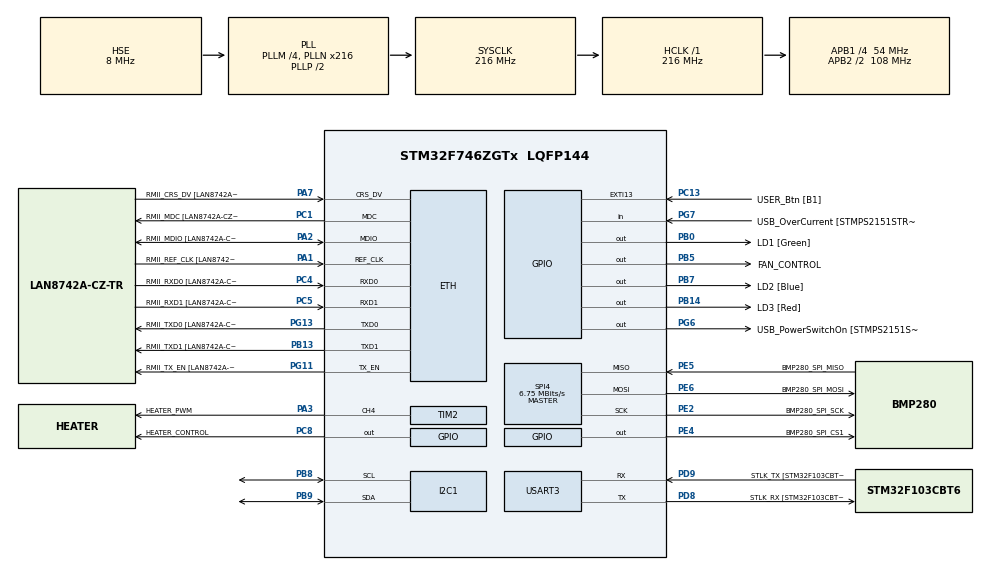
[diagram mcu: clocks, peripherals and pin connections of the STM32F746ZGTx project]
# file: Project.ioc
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ETH.MediaInterface=HAL_ETH_RMII_MODE
ETH.PHY_Name=LAN8742A_PHY_ADDRESS
ETH.PHY_Value=0
ETH.PhyAddress=0
FREERTOS.Tasks01=defaultTask,0,256,StartDefaultTask,Default,NULL,Dynamic,NULL,NULL;udpechoTask,3,1024,StartUdpEcho,Default,NULL,Dynamic,NULL,NULL;tcpechoTask,3,1024,StartTcpEcho,Default,NULL,Dynamic,NULL,NULL
FREERTOS.configTOTAL_HEAP_SIZE=25360
FREERTOS.configUSE_NEWLIB_REENTRANT=1
I2C1.Timing=0x20404768
LWIP.BSP.number=1
LWIP.GATEWAY_ADDRESS=192.168.001.001
LWIP.IP_ADDRESS=192.168.001.066
LWIP.LWIP_DHCP=0
LWIP.LWIP_HTTPD=1
LWIP.NETMASK_ADDRESS=255.255.255.000
LWIP.Version=v2.1.2_Cube
LWIP0.BSP.STBoard=false
LWIP0.BSP.api=BSP_COMPONENT_DRIVER
LWIP0.BSP.component=LAN8742
LWIP0.BSP.instance=LAN8742
LWIP0.BSP.name=Driver_PHY
LWIP0.BSP.semaphore=S_LAN8742
LWIP0.BSP.solution=LAN8742
Mcu.Family=STM32F7
Mcu.Name=STM32F746ZGTx
Mcu.Package=LQFP144
NVIC.ETH_IRQn=true\:5\:0\:false\:false\:true\:true\:false\:true\:true
NVIC.PriorityGroup=NVIC_PRIORITYGROUP_4
NVIC.USART3_IRQn=true\:5\:0\:false\:false\:true\:true\:true\:true\:true
PA1.GPIO_Label=RMII_REF_CLK [LAN8742A-CZ-TR_REFCLK0]
PA1.Mode=RMII
PA1.Signal=ETH_REF_CLK
PA10.GPIO_Label=USB_ID
PA10.Signal=USB_OTG_FS_ID
PA11.GPIO_Label=USB_DM
PA11.Signal=USB_OTG_FS_DM
PA12.GPIO_Label=USB_DP
PA12.Signal=USB_OTG_FS_DP
PA13.GPIO_Label=TMS
PA13.Mode=Serial_Wire
PA13.Signal=SYS_JTMS-SWDIO
PA14.GPIO_Label=TCK
PA14.Mode=Serial_Wire
PA14.Signal=SYS_JTCK-SWCLK
PA2.GPIO_Label=RMII_MDIO [LAN8742A-CZ-TR_MDIO]
PA2.Mode=RMII
PA2.Signal=ETH_MDIO
PA3.GPIO_Label=HEATER_PWM
PA3.Signal=S_TIM2_CH4
PA7.GPIO_Label=RMII_CRS_DV [LAN8742A-CZ-TR_CRS_DV]
PA7.Mode=RMII
PA7.Signal=ETH_CRS_DV
PA8.GPIO_Label=USB_SOF [TP1]
PA8.Signal=USB_OTG_FS_SOF
PA9.GPIO_Label=USB_VBUS
PA9.Signal=USB_OTG_FS_VBUS
PB0.GPIO_Label=LD1 [Green]
PB0.Signal=GPIO_Output
PB13.GPIO_Label=RMII_TXD1 [LAN8742A-CZ-TR_TXD1]
PB13.Mode=RMII
PB13.Signal=ETH_TXD1
PB14.GPIO_Label=LD3 [Red]
PB14.Signal=GPIO_Output
PB3.GPIO_Label=SW0
PB3.Signal=SYS_JTDO-SWO
PB5.GPIO_Label=FAN_CONTROL
PB5.GPIO_Speed=GPIO_SPEED_FREQ_LOW
PB5.Signal=GPIO_Output
PB7.GPIO_Label=LD2 [Blue]
PB7.Signal=GPIO_Output
PB8.Mode=I2C
PB8.Signal=I2C1_SCL
PB9.Mode=I2C
PB9.Signal=I2C1_SDA
PC1.GPIO_Label=RMII_MDC [LAN8742A-CZ-TR_MDC]
PC1.Mode=RMII
PC1.Signal=ETH_MDC
PC13.GPIO_Label=USER_Btn [B1]
PC13.Signal=GPXTI13
PC14/OSC32_IN.Mode=LSE-External-Oscillator
PC14/OSC32_IN.Signal=RCC_OSC32_IN
PC15/OSC32_OUT.Mode=LSE-External-Oscillator
PC15/OSC32_OUT.Signal=RCC_OSC32_OUT
PC4.GPIO_Label=RMII_RXD0 [LAN8742A-CZ-TR_RXD0]
PC4.Mode=RMII
PC4.Signal=ETH_RXD0
PC5.GPIO_Label=RMII_RXD1 [LAN8742A-CZ-TR_RXD1]
PC5.Mode=RMII
PC5.Signal=ETH_RXD1
PC8.GPIO_Label=HEATER_CONTROL
PC8.Signal=GPIO_Output
PD8.GPIO_Label=STLK_RX [STM32F103CBT6_PA3]
PD8.Mode=Asynchronous
PD8.Signal=USART3_TX
PD9.GPIO_Label=STLK_TX [STM32F103CBT6_PA2]
PD9.Mode=Asynchronous
PD9.Signal=USART3_RX
PE2.GPIO_Label=BMP280_SPI_SCK
PE2.Mode=Full_Duplex_Master
PE2.Signal=SPI4_SCK
PE4.GPIO_Label=BMP280_SPI_CS1
PE4.Signal=GPIO_Output
PE5.GPIO_Label=BMP280_SPI_MISO
PE5.Mode=Full_Duplex_Master
PE5.Signal=SPI4_MISO
PE6.GPIO_Label=BMP280_SPI_MOSI
PE6.Mode=Full_Duplex_Master
PE6.Signal=SPI4_MOSI
PG11.GPIO_Label=RMII_TX_EN [LAN8742A-CZ-TR_TXEN]
PG11.Mode=RMII
PG11.Signal=ETH_TX_EN
PG13.GPIO_Label=RMII_TXD0 [LAN8742A-CZ-TR_TXD0]
PG13.Mode=RMII
PG13.Signal=ETH_TXD0
PG6.GPIO_Label=USB_PowerSwitchOn [STMPS2151STR_EN]
PG6.Signal=GPIO_Output
PG7.GPIO_Label=USB_OverCurrent [STMPS2151STR_FAULT]
PG7.Signal=GPIO_Input
PH0/OSC_IN.GPIO_Label=MCO [STM32F103CBT6_PA8]
PH0/OSC_IN.Mode=HSE-External-Clock-Source
PH0/OSC_IN.Signal=RCC_OSC_IN
PH1/OSC_OUT.Mode=HSE-External-Clock-Source
PH1/OSC_OUT.Signal=RCC_OSC_OUT
ProjectManager.HeapSize=0x400
ProjectManager.StackSize=0x400
ProjectManager.TargetToolchain=STM32CubeIDE
RCC.48MHZClocksFreq_Value=24000000
RCC.AHBFreq_Value=216000000
RCC.APB1CLKDivider=RCC_HCLK_DIV4
RCC.APB1Freq_Value=54000000
RCC.APB1TimFreq_Value=108000000
RCC.APB2CLKDivider=RCC_HCLK_DIV2
RCC.APB2Freq_Value=108000000
RCC.APB2TimFreq_Value=216000000
RCC.CortexFreq_Value=216000000
RCC.HCLKFreq_Value=216000000
RCC.HSE_VALUE=8000000
RCC.HSI_VALUE=16000000
RCC.PLLM=4
RCC.PLLMUL=RCC_PLL_MUL9
RCC.PLLN=216
RCC.PLLQ=3
RCC.PLLSourceVirtual=RCC_PLLSOURCE_HSE
RCC.PRESCALERUSB=RCC_USBCLKSOURCE_PLL_DIV1_5
RCC.SYSCLKFreq_VALUE=216000000
RCC.SYSCLKSource=RCC_SYSCLKSOURCE_PLLCLK
RCC.SYSCLKSourceVirtual=RCC_SYSCLKSOURCE_PLLCLK
RCC.USBFreq_Value=144000000
RCC.VCOOutputFreq_Value=432000000
SH.S_TIM2_CH4.0=TIM2_CH4,PWM Generation4 CH4
SPI4.BaudRatePrescaler=SPI_BAUDRATEPRESCALER_16
SPI4.CLKPhase=SPI_PHASE_2EDGE
SPI4.CLKPolarity=SPI_POLARITY_HIGH
SPI4.CalculateBaudRate=6.75 MBits/s
SPI4.DataSize=SPI_DATASIZE_8BIT
SPI4.Direction=SPI_DIRECTION_2LINES
SPI4.Mode=SPI_MODE_MASTER
SPI4.VirtualType=VM_MASTER
TIM2.Channel-PWM\ Generation4\ CH4=TIM_CHANNEL_4
TIM2.Period=1000-1
TIM2.Prescaler=108-1
TIM7.Period=9999
TIM7.Prescaler=10799
USART3.VirtualMode-Asynchronous=VM_ASYNC
VP_FREERTOS_VS_CMSIS_V1.Mode=CMSIS_V1
VP_LWIP_VS_Enabled.Mode=Enabled
VP_TIM2_VS_ClockSourceINT.Mode=Internal
VP_TIM7_VS_ClockSourceINT.Mode=Enable_Timer
board=NUCLEO-F746ZG

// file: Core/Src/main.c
/* USER CODE BEGIN Header */
/**
  ******************************************************************************
  * @file           : main.c
  * @brief          : Main program body
  ******************************************************************************
  * @attention
  *
  * Copyright (c) 2023 STMicroelectronics.
  * All rights reserved.
  *
  * This software is licensed under terms that can be found in the LICENSE file
  * in the root directory of this software component.
  * If no LICENSE file comes with this software, it is provided AS-IS.
  *
  ******************************************************************************
  */
/* USER CODE END Header */
#include "main.h"
#include "cmsis_os.h"
#include "i2c.h"
#include "lwip.h"
#include "spi.h"
#include "tim.h"
#include "usart.h"
#include "gpio.h"

/* USER CODE BEGIN Includes */
#include "lwip/apps/httpd.h"
#include "lcd_i2c.h"
#include <stdbool.h>
#include <stdio.h>
#include <stdlib.h>
#include "bmp2_config.h"
/* USER CODE END Includes */

/* USER CODE BEGIN PV */
struct lcd_disp disp;
volatile float my_variable = 20.0;
uint8_t rx_buffer[1];
extern struct bmp2_dev bmp2dev;

int temp_mdegC = 0;
int press_Pa = 0;
/* USER CODE END PV */

void SystemClock_Config(void);
void MX_FREERTOS_Init(void);
/* USER CODE BEGIN PFP */
void TempSensorTask(void *argument);
/* USER CODE END PFP */

/* USER CODE BEGIN 0 */
int _write(int file, char *ptr, int len)
{
  return (HAL_UART_Transmit(&huart3, (uint8_t*)ptr, len, HAL_MAX_DELAY) == HAL_OK) ? len : -1;
}
/* USER CODE END 0 */

int main(void)
{

  /* MCU Configuration--------------------------------------------------------*/

  /* Reset of all peripherals, Initializes the Flash interface and the Systick. */
  HAL_Init();

  /* Configure the system clock */
  SystemClock_Config();

  /* Initialize all configured peripherals */
  MX_GPIO_Init();
  MX_USART3_UART_Init();
  MX_I2C1_Init();
  MX_SPI4_Init();
  MX_TIM2_Init();
  MX_TIM7_Init();
  /* USER CODE BEGIN 2 */
  disp.addr = (0x27 << 1);
  disp.bl = true;
  lcd_init(&disp);
  sprintf((char *)disp.f_line, "Wartosc: %.2f", my_variable);
  sprintf((char *)disp.s_line, "");
  lcd_display(&disp);

  HAL_UART_Receive_IT(&huart3, rx_buffer, 1);

  BMP2_Init(&bmp2dev);
  /* USER CODE END 2 */

  /* Call init function for freertos objects (in freertos.c) */
  MX_FREERTOS_Init();

  /* Start scheduler */
  osKernelStart();

  /* We should never get here as control is now taken by the scheduler */
  /* Infinite loop */
  /* USER CODE BEGIN WHILE */
  float prev_variable = 0;
  while (1)
  {
	  if (prev_variable != my_variable) {
	  char buffer[16];
	  sprintf(buffer, "Val: %.2f", my_variable);
	  sprintf((char *)disp.f_line, "%s", buffer);
	  lcd_display(&disp);  // Aktualizacja wyświetlacza LCD
	  prev_variable = my_variable;
	  }

	  HAL_Delay(500);

	  double temp, press;
	  BMP2_ReadData(&bmp2dev, &press, &temp);
	  temp_mdegC = 1000*temp;
	  press_Pa = 100*press;
	  printf("{\"id\":1,\"temp\":%5.2f, \"press\":%7.2f }\r\n", (float)temp, (float)press);
	  HAL_Delay(250);
    /* USER CODE END WHILE */

  }
}

void SystemClock_Config(void)
{
  RCC_OscInitTypeDef RCC_OscInitStruct = {0};
  RCC_ClkInitTypeDef RCC_ClkInitStruct = {0};

  /** Configure LSE Drive Capability
  */
  HAL_PWR_EnableBkUpAccess();

  /** Configure the main internal regulator output voltage
  */
  __HAL_RCC_PWR_CLK_ENABLE();
  __HAL_PWR_VOLTAGESCALING_CONFIG(PWR_REGULATOR_VOLTAGE_SCALE1);

  /** Initializes the RCC Oscillators according to the specified parameters
  * in the RCC_OscInitTypeDef structure.
  */
  RCC_OscInitStruct.OscillatorType = RCC_OSCILLATORTYPE_HSE;
  RCC_OscInitStruct.HSEState = RCC_HSE_BYPASS;
  RCC_OscInitStruct.PLL.PLLState = RCC_PLL_ON;
  RCC_OscInitStruct.PLL.PLLSource = RCC_PLLSOURCE_HSE;
  RCC_OscInitStruct.PLL.PLLM = 4;
  RCC_OscInitStruct.PLL.PLLN = 216;
  RCC_OscInitStruct.PLL.PLLP = RCC_PLLP_DIV2;
  RCC_OscInitStruct.PLL.PLLQ = 3;
  if (HAL_RCC_OscConfig(&RCC_OscInitStruct) != HAL_OK)
  {
    Error_Handler();
  }

  /** Activate the Over-Drive mode
  */
  if (HAL_PWREx_EnableOverDrive() != HAL_OK)
  {
    Error_Handler();
  }

  /** Initializes the CPU, AHB and APB buses clocks
  */
  RCC_ClkInitStruct.ClockType = RCC_CLOCKTYPE_HCLK|RCC_CLOCKTYPE_SYSCLK
                              |RCC_CLOCKTYPE_PCLK1|RCC_CLOCKTYPE_PCLK2;
  RCC_ClkInitStruct.SYSCLKSource = RCC_SYSCLKSOURCE_PLLCLK;
  RCC_ClkInitStruct.AHBCLKDivider = RCC_SYSCLK_DIV1;
  RCC_ClkInitStruct.APB1CLKDivider = RCC_HCLK_DIV4;
  RCC_ClkInitStruct.APB2CLKDivider = RCC_HCLK_DIV2;

  if (HAL_RCC_ClockConfig(&RCC_ClkInitStruct, FLASH_LATENCY_7) != HAL_OK)
  {
    Error_Handler();
  }
}

/* USER CODE BEGIN 4 */
void HAL_UART_RxCpltCallback(UART_HandleTypeDef *huart) {
    if (huart->Instance == USART3) {
        if (rx_buffer[0] == '+') {
            my_variable += 0.5;
        } else if (rx_buffer[0] == '-') {
            my_variable -= 0.5;
        }

        // Wysyłanie aktualnej wartości
        char response[20];
        sprintf(response, "%.2f\n", my_variable);
        HAL_UART_Transmit(&huart3, (uint8_t*)response, strlen(response), HAL_MAX_DELAY);

        HAL_UART_Receive_IT(&huart3, rx_buffer, 1);  // Ponowne włączenie odbioru
    }
}
/* USER CODE END 4 */

void Error_Handler(void)
{
  __disable_irq();
  while (1)
  {
  }
}

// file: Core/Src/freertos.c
/* USER CODE BEGIN Header */
/**
  ******************************************************************************
  * File Name          : freertos.c
  * Description        : Code for freertos applications
  ******************************************************************************
  * @attention
  *
  * Copyright (c) 2023 STMicroelectronics.
  * All rights reserved.
  *
  * This software is licensed under terms that can be found in the LICENSE file
  * in the root directory of this software component.
  * If no LICENSE file comes with this software, it is provided AS-IS.
  *
  ******************************************************************************
  */
/* USER CODE END Header */

#include "FreeRTOS.h"
#include "task.h"
#include "main.h"
#include "cmsis_os.h"

/* USER CODE BEGIN Includes */
#include "lwip/opt.h"
#include "lwip/api.h"
#include "lwip/sys.h"
#include "lwip/apps/httpd.h"
#include "lwip/tcpip.h"
#include "lwip/netif.h"
#include "ethernetif.h"
#include <string.h>
#include <stdio.h>
#include "lcd_i2c.h"
#include "bmp2_config.h"

/* USER CODE END Includes */

/* USER CODE BEGIN PD */
#define TCP_SERVER 0
/* USER CODE END PD */

osThreadId defaultTaskHandle;
osThreadId udpechoTaskHandle;
osThreadId tcpechoTaskHandle;

/* USER CODE BEGIN FunctionPrototypes */
//extern void tcpecho_init(void);
//extern void udpecho_init(void);
extern volatile float my_variable;
extern struct lcd_disp disp;
extern volatile int temp_mdegC;
extern volatile int press_Pa;
extern struct bmp2_dev bmp2dev;
osMutexId i2cMutexHandle;
/* USER CODE END FunctionPrototypes */

void StartDefaultTask(void const * argument);
void StartUdpEcho(void const * argument);
void StartTcpEcho(void const * argument);

extern struct netif gnetif;
extern void MX_LWIP_Init(void);
void MX_FREERTOS_Init(void); /* (MISRA C 2004 rule 8.1) */

/* GetIdleTaskMemory prototype (linked to static allocation support) */
void vApplicationGetIdleTaskMemory( StaticTask_t **ppxIdleTaskTCBBuffer, StackType_t **ppxIdleTaskStackBuffer, uint32_t *pulIdleTaskStackSize );

/* USER CODE BEGIN GET_IDLE_TASK_MEMORY */
static StaticTask_t xIdleTaskTCBBuffer;
static StackType_t xIdleStack[configMINIMAL_STACK_SIZE];

void vApplicationGetIdleTaskMemory( StaticTask_t **ppxIdleTaskTCBBuffer, StackType_t **ppxIdleTaskStackBuffer, uint32_t *pulIdleTaskStackSize )
{
  *ppxIdleTaskTCBBuffer = &xIdleTaskTCBBuffer;
  *ppxIdleTaskStackBuffer = &xIdleStack[0];
  *pulIdleTaskStackSize = configMINIMAL_STACK_SIZE;
  /* place for user code */
}
/* USER CODE END GET_IDLE_TASK_MEMORY */

void StartTempSensorTask(void *argument)
{
    double temp, press;
    for(;;)
    {
        osMutexWait(i2cMutexHandle, osWaitForever);
        if (BMP2_ReadData(&bmp2dev, &press, &temp) == BMP2_OK)
        {
            temp_mdegC = (int)(temp * 1000);
            press_Pa = (int)(press * 100);

        }
        else
        {

        }
        osMutexRelease(i2cMutexHandle);

        osDelay(500);
    }
}

void StartLCDTask(void *argument)
{
    for(;;)
    {
        osMutexWait(i2cMutexHandle, osWaitForever);

        char buffer[16];
        sprintf(buffer, "Set temp.: %.2f", my_variable);
        sprintf((char *)disp.f_line, "%s", buffer);
        lcd_display(&disp);

        char buffer2[16];
        sprintf(buffer2, "Act. temp.: %.1f", temp_mdegC / 1000.0);  // Konwersja na stopnie Celsjusza
        sprintf((char *)disp.s_line, "%s", buffer2);
        osMutexRelease(i2cMutexHandle);
        osDelay(1000);
    }
}

void StartFanControlTask(void const *argument) {

    for (;;) {

        osMutexWait(i2cMutexHandle, osWaitForever);

        float current_temp = (float)temp_mdegC / 1000.0f;
        float set_temp = my_variable;

        if (set_temp < current_temp) {
        	HAL_GPIO_WritePin(HEATER_CONTROL_GPIO_Port, HEATER_CONTROL_Pin, GPIO_PIN_RESET);
            HAL_GPIO_WritePin(FAN_CONTROL_GPIO_Port, FAN_CONTROL_Pin, GPIO_PIN_SET);
        } else {
            HAL_GPIO_WritePin(FAN_CONTROL_GPIO_Port, FAN_CONTROL_Pin, GPIO_PIN_RESET);
        	HAL_GPIO_WritePin(HEATER_CONTROL_GPIO_Port, HEATER_CONTROL_Pin, GPIO_PIN_SET);

        }

        osMutexRelease(i2cMutexHandle);
        osDelay(pdMS_TO_TICKS(1000));  // Odświeżanie co sekundę
    }
}

void StartHttpServerTask(void *argument)
{
    while (!netif_is_up(&gnetif))
    {
        osDelay(100);
    }

    httpd_init();

    for (;;)
    {
        osDelay(1000);
    }
}

void MX_FREERTOS_Init(void) {

  /* Create the thread(s) */
  /* definition and creation of defaultTask */
  osThreadDef(defaultTask, StartDefaultTask, osPriorityNormal, 0, 256);
  defaultTaskHandle = osThreadCreate(osThread(defaultTask), NULL);

  /* definition and creation of udpechoTask */
  osThreadDef(udpechoTask, StartUdpEcho, osPriorityRealtime, 0, 1024);
  udpechoTaskHandle = osThreadCreate(osThread(udpechoTask), NULL);

  /* definition and creation of tcpechoTask */
  osThreadDef(tcpechoTask, StartTcpEcho, osPriorityRealtime, 0, 1024);
  tcpechoTaskHandle = osThreadCreate(osThread(tcpechoTask), NULL);

  /* USER CODE BEGIN RTOS_THREADS */
  osThreadDef(tempSensorTask, StartTempSensorTask, osPriorityLow, 0, 256);
  osThreadCreate(osThread(tempSensorTask), NULL);
  osThreadDef(lcdTask, StartLCDTask, osPriorityNormal, 0, 256);
  osThreadCreate(osThread(lcdTask), NULL);
  osThreadDef(fanTask, StartFanControlTask, osPriorityNormal, 0, 256);
  osThreadCreate(osThread(fanTask), NULL);
  osMutexDef(i2cMutex);
  i2cMutexHandle = osMutexCreate(osMutex(i2cMutex));
  osThreadDef(httpServerTask, StartHttpServerTask, osPriorityNormal, 0, 1024);
  osThreadCreate(osThread(httpServerTask), NULL);

  /* USER CODE END RTOS_THREADS */

}

void StartDefaultTask(void const * argument)
{
  /* init code for LWIP */
  MX_LWIP_Init();
  /* USER CODE BEGIN StartDefaultTask */

  /* Infinite loop */
  for(;;)
  {
	HAL_GPIO_TogglePin(LD1_GPIO_Port, LD1_Pin);
    osDelay(100);
  }
  /* USER CODE END StartDefaultTask */
}

void StartUdpEcho(void const * argument)
{
  /* USER CODE BEGIN StartUdpEcho */
  struct netconn *conn;
  struct netbuf *buf;
  char buffer[32];
  char response[64];
  err_t err;
  int msg_cnt = 0;
  LWIP_UNUSED_ARG(argument);

  osDelay(100);

#if LWIP_IPV6
  conn = netconn_new(NETCONN_UDP_IPV6);
  LWIP_ERROR("udpecho: invalid conn", (conn != NULL), return;);
  netconn_bind(conn, IP6_ADDR_ANY, 8);
#else /* LWIP_IPV6 */
  conn = netconn_new(NETCONN_UDP);
  LWIP_ERROR("udpecho: invalid conn", (conn != NULL), return;);
  netconn_bind(conn, IP_ADDR_ANY, 8);
#endif /* LWIP_IPV6 */
  /* Infinite loop */
  for(;;)
  {
	err = netconn_recv(conn, &buf);
	if (err == ERR_OK)
	{
	  HAL_GPIO_WritePin(LD2_GPIO_Port, LD2_Pin, 1);
	  /*  no need netconn_connect here, since the netbuf contains the address */
      if(netbuf_copy(buf, buffer, sizeof(buffer)) != buf->p->tot_len)
	  {
        LWIP_DEBUGF(LWIP_DBG_ON, ("netbuf_copy failed\n"));
	  }
	  else
	  {
		msg_cnt++;
		buffer[buf->p->tot_len] = '\0';
		int response_len = sprintf(response, "\r\nMessage #%03d: %s", msg_cnt, buffer);
		netbuf_ref(buf, response, response_len);
		err = netconn_send(conn, buf);

		if(err != ERR_OK)
		{
		  LWIP_DEBUGF(LWIP_DBG_ON, ("netconn_send failed: %d\n", (int)err));
		}
		else
		{
		  LWIP_DEBUGF(LWIP_DBG_ON, ("got %s\n", buffer));
		}
	  }
	  netbuf_delete(buf);
	  HAL_GPIO_WritePin(LD2_GPIO_Port, LD2_Pin, 0);
	}
  }
  /* USER CODE END StartUdpEcho */
}

void StartTcpEcho(void const * argument)
{
  /* USER CODE BEGIN StartTcpEcho */
  struct netconn *conn, *newconn;
  err_t err, accept_err;
  struct netbuf *buf;
  void *data;
  u16_t len;
  int msg_cnt = 0;
  LWIP_UNUSED_ARG(argument);

  osDelay(100);

  /* Create a new connection identifier. */
  conn = netconn_new(NETCONN_TCP);

  if (conn!=NULL)
  {
	/* Bind connection to well known port number 7. */
	err = netconn_bind(conn, NULL, 7);

	if (err == ERR_OK)
	{
	  /* Tell connection to go into listening mode. */
	  netconn_listen(conn);
      /* Infinite loop */
	  for(;;)
	  {

		/* Grab new connection. */
		accept_err = netconn_accept(conn, &newconn);

		/* Process the new connection. */
		if (accept_err == ERR_OK)
		{

		  while (netconn_recv(newconn, &buf) == ERR_OK)
	      {
			HAL_GPIO_WritePin(LD3_GPIO_Port, LD3_Pin, 1);
		    msg_cnt++;
		    do
		    {
			  netbuf_data(buf, &data, &len);
			  char prefix[32];
			  int prefix_len = sprintf(prefix, "\r\nMessage #%03d: ", msg_cnt);
			  netconn_write(newconn, prefix, prefix_len, NETCONN_COPY);
			  netconn_write(newconn, data, len, NETCONN_COPY);
			  char postfix[] = "\r\n";
			  netconn_write(newconn, postfix, 2, NETCONN_NOFLAG);
		    } while (netbuf_next(buf) >= 0);
            netbuf_delete(buf);
  		    HAL_GPIO_WritePin(LD3_GPIO_Port, LD3_Pin, 0);
		  }

		  /* Close connection and discard connection identifier. */
		  netconn_close(newconn);
		  netconn_delete(newconn);
		}
	  }
	}
    else
    {
      netconn_delete(newconn);
    }
  }
  /* USER CODE END StartTcpEcho */
}
